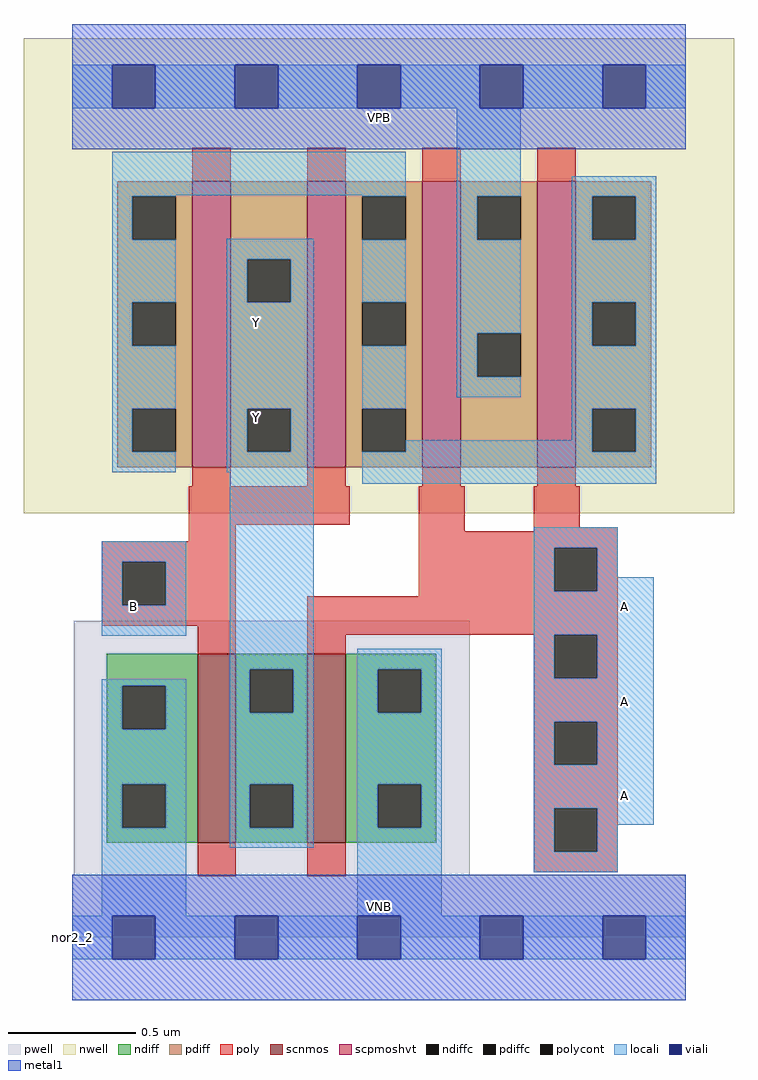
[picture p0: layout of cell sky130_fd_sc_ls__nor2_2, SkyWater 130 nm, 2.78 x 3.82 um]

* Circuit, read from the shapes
.subckt sky130_fd_sc_ls__nor2_2 A B VGND VNB VPB VPWR Y
XM1 Y B VGND VNB sky130_fd_pr__nfet_01v8 w=0.74 l=0.15
XM2 VGND A Y VNB sky130_fd_pr__nfet_01v8 w=0.74 l=0.15
XM3 Y B n1 VPB sky130_fd_pr__pfet_01v8_hvt w=1.12 l=0.15 m=2
XM4 VPWR A n1 VPB sky130_fd_pr__pfet_01v8_hvt w=1.12 l=0.15 m=2
.ends

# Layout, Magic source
magic
tech sky130A
magscale 1 2
<< nwell >>
rect -38 332 518 704
<< pwell >>
rect 1 49 311 248
rect 0 0 480 49
<< scnmos >>
rect 98 74 128 222
rect 184 74 214 222
<< scpmoshvt >>
rect 94 368 124 592
rect 184 368 214 592
rect 274 368 304 592
rect 364 368 394 592
<< ndiff >>
rect 27 197 98 222
rect 27 163 39 197
rect 73 163 98 197
rect 27 120 98 163
rect 27 86 39 120
rect 73 86 98 120
rect 27 74 98 86
rect 128 210 184 222
rect 128 176 139 210
rect 173 176 184 210
rect 128 120 184 176
rect 128 86 139 120
rect 173 86 184 120
rect 128 74 184 86
rect 214 210 285 222
rect 214 176 239 210
rect 273 176 285 210
rect 214 120 285 176
rect 214 86 239 120
rect 273 86 285 120
rect 214 74 285 86
<< pdiff >>
rect 35 580 94 592
rect 35 546 47 580
rect 81 546 94 580
rect 35 497 94 546
rect 35 463 47 497
rect 81 463 94 497
rect 35 414 94 463
rect 35 380 47 414
rect 81 380 94 414
rect 35 368 94 380
rect 124 531 184 592
rect 124 497 137 531
rect 171 497 184 531
rect 124 414 184 497
rect 124 380 137 414
rect 171 380 184 414
rect 124 368 184 380
rect 214 580 274 592
rect 214 546 227 580
rect 261 546 274 580
rect 214 497 274 546
rect 214 463 227 497
rect 261 463 274 497
rect 214 414 274 463
rect 214 380 227 414
rect 261 380 274 414
rect 214 368 274 380
rect 304 580 364 592
rect 304 546 317 580
rect 351 546 364 580
rect 304 473 364 546
rect 304 439 317 473
rect 351 439 364 473
rect 304 368 364 439
rect 394 580 453 592
rect 394 546 407 580
rect 441 546 453 580
rect 394 497 453 546
rect 394 463 407 497
rect 441 463 453 497
rect 394 414 453 463
rect 394 380 407 414
rect 441 380 453 414
rect 394 368 453 380
<< ndiffc >>
rect 39 163 73 197
rect 39 86 73 120
rect 139 176 173 210
rect 139 86 173 120
rect 239 176 273 210
rect 239 86 273 120
<< pdiffc >>
rect 47 546 81 580
rect 47 463 81 497
rect 47 380 81 414
rect 137 497 171 531
rect 137 380 171 414
rect 227 546 261 580
rect 227 463 261 497
rect 227 380 261 414
rect 317 546 351 580
rect 317 439 351 473
rect 407 546 441 580
rect 407 463 441 497
rect 407 380 441 414
<< poly >>
rect 94 592 124 618
rect 184 592 214 618
rect 274 592 304 618
rect 364 592 394 618
rect 94 353 124 368
rect 184 353 214 368
rect 274 353 304 368
rect 364 353 394 368
rect 91 323 217 353
rect 91 310 128 323
rect 23 294 128 310
rect 23 260 39 294
rect 73 260 128 294
rect 271 318 307 353
rect 361 321 397 353
rect 361 318 427 321
rect 271 305 427 318
rect 271 271 377 305
rect 411 271 427 305
rect 271 267 427 271
rect 23 244 128 260
rect 98 222 128 244
rect 184 237 427 267
rect 184 222 214 237
rect 361 203 377 237
rect 411 203 427 237
rect 361 169 427 203
rect 361 135 377 169
rect 411 135 427 169
rect 361 101 427 135
rect 98 48 128 74
rect 184 48 214 74
rect 361 67 377 101
rect 411 67 427 101
rect 361 51 427 67
<< polycont >>
rect 39 260 73 294
rect 377 271 411 305
rect 377 203 411 237
rect 377 135 411 169
rect 377 67 411 101
<< locali >>
rect 0 649 31 683
rect 65 649 127 683
rect 161 649 223 683
rect 257 649 319 683
rect 353 649 415 683
rect 449 649 480 683
rect 31 581 261 615
rect 31 580 81 581
rect 31 546 47 580
rect 227 580 261 581
rect 31 497 81 546
rect 31 463 47 497
rect 31 414 81 463
rect 31 380 47 414
rect 31 364 81 380
rect 121 531 189 547
rect 121 497 137 531
rect 171 497 189 531
rect 121 414 189 497
rect 121 380 137 414
rect 171 380 189 414
rect 121 364 189 380
rect 23 294 89 310
rect 23 260 39 294
rect 73 260 89 294
rect 23 236 89 260
rect 123 210 189 364
rect 227 497 261 546
rect 227 414 261 463
rect 301 580 351 649
rect 301 546 317 580
rect 301 473 351 546
rect 301 439 317 473
rect 301 423 351 439
rect 391 580 457 596
rect 391 546 407 580
rect 441 546 457 580
rect 391 497 457 546
rect 391 463 407 497
rect 441 463 457 497
rect 391 414 457 463
rect 391 389 407 414
rect 261 380 407 389
rect 441 380 457 414
rect 227 355 457 380
rect 361 305 427 321
rect 361 271 377 305
rect 411 282 427 305
rect 411 271 455 282
rect 361 237 455 271
rect 23 197 89 202
rect 23 163 39 197
rect 73 163 89 197
rect 23 120 89 163
rect 23 86 39 120
rect 73 86 89 120
rect 23 17 89 86
rect 123 176 139 210
rect 173 176 189 210
rect 123 120 189 176
rect 123 86 139 120
rect 173 86 189 120
rect 123 70 189 86
rect 223 210 289 226
rect 223 176 239 210
rect 273 176 289 210
rect 223 120 289 176
rect 223 86 239 120
rect 273 86 289 120
rect 223 17 289 86
rect 361 203 377 237
rect 411 203 455 237
rect 361 169 455 203
rect 361 135 377 169
rect 411 135 455 169
rect 361 101 455 135
rect 361 67 377 101
rect 411 88 455 101
rect 411 67 427 88
rect 361 51 427 67
rect 0 -17 31 17
rect 65 -17 127 17
rect 161 -17 223 17
rect 257 -17 319 17
rect 353 -17 415 17
rect 449 -17 480 17
<< viali >>
rect 31 649 65 683
rect 127 649 161 683
rect 223 649 257 683
rect 319 649 353 683
rect 415 649 449 683
rect 31 -17 65 17
rect 127 -17 161 17
rect 223 -17 257 17
rect 319 -17 353 17
rect 415 -17 449 17
<< metal1 >>
rect 0 683 480 715
rect 0 649 31 683
rect 65 649 127 683
rect 161 649 223 683
rect 257 649 319 683
rect 353 649 415 683
rect 449 649 480 683
rect 0 617 480 649
rect 0 17 480 49
rect 0 -17 31 17
rect 65 -17 127 17
rect 161 -17 223 17
rect 257 -17 319 17
rect 353 -17 415 17
rect 449 -17 480 17
rect 0 -49 480 -17
<< labels >>
rlabel comment s 0 0 0 0 4 nor2_2
flabel pwell s 0 0 480 49 0 FreeSans 200 0 0 0 VNB
port 4 nsew ground bidirectional
flabel nwell s 0 617 480 666 0 FreeSans 200 0 0 0 VPB
port 5 nsew power bidirectional
flabel metal1 s 0 617 480 666 0 FreeSans 340 0 0 0 VPWR
port 6 nsew power bidirectional abutment
flabel metal1 s 0 0 480 49 0 FreeSans 340 0 0 0 VGND
port 3 nsew ground bidirectional abutment
flabel locali s 31 242 65 276 0 FreeSans 340 0 0 0 B
port 2 nsew signal input
flabel locali s 127 390 161 424 0 FreeSans 340 0 0 0 Y
port 7 nsew signal output
flabel locali s 127 464 161 498 0 FreeSans 340 0 0 0 Y
port 7 nsew signal output
flabel locali s 415 94 449 128 0 FreeSans 340 0 0 0 A
port 1 nsew signal input
flabel locali s 415 168 449 202 0 FreeSans 340 0 0 0 A
port 1 nsew signal input
flabel locali s 415 242 449 276 0 FreeSans 340 0 0 0 A
port 1 nsew signal input
<< properties >>
string LEFsite unit
string LEFclass CORE
string FIXED_BBOX 0 0 480 666
string GDS_FILE $PDKPATH/libs.ref/sky130_fd_sc_ls/gds/sky130_fd_sc_ls.gds
string LEFsymmetry X Y
string GDS_END 3164128
string GDS_START 3158880
<< end >>
